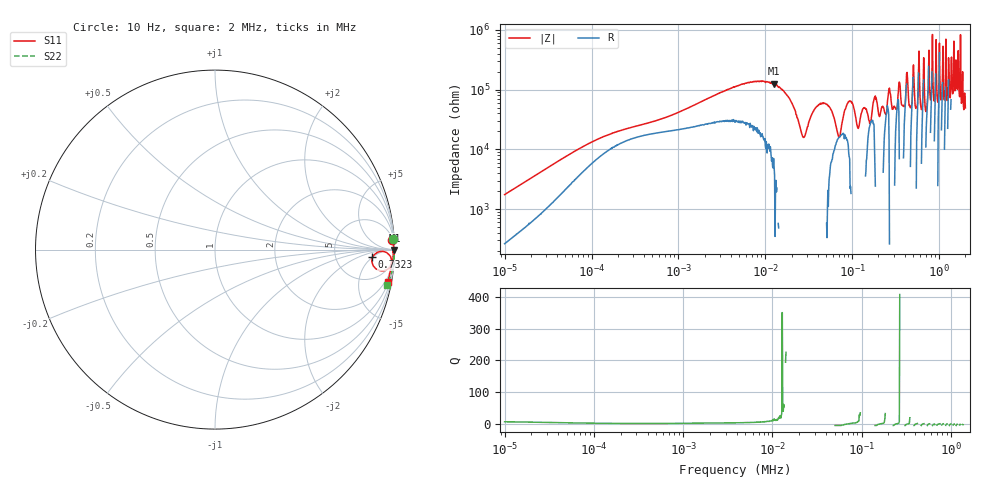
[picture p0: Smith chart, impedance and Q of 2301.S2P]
!Agilent Technologies,E5061B,MY49204007,A.02.12
!Date: Wed Jul 23 11:33:28 2025
!Data & Calibration Information:
!Freq	S11:SOLT2(ON)	S21:SOLT2(ON)	S12:SOLT2(ON)	S22:SOLT2(ON)
# Hz S dB R 50
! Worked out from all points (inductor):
!   1040 points, 10 Hz to 2 MHz, reference 50 ohm
!   read as one part in series: L = 26.7 H near 10.69 Hz
!   highest Q = 25 at 12.6 kHz (marker M1), where L = 1.58 H
!   self-resonance near 27.44 kHz
!   S11 on the Smith chart (normalised r, x): 10 Hz: 7, +34; 732.3 kHz: 13, -5; 2 MHz: 1, -11
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10  -0.09 3.2  -24.91 -78.0  -24.92 -77.9  -0.08 3.4
77.209  -0.03 0.5  -40.73 -67.6  -40.73 -67.5  -0.02 0.7
588.818  -0.02 0.1  -49.88 -52.3  -49.88 -52.1  -0.00 0.3
4498.482  -0.01 -0.0  -61.01 -74.2  -61.02 -74.7  0.01 0.2
12597.64  -0.00 -0.1  -61.96 -87.7  -61.92 -87.6  0.01 0.1
19320.97  -0.01 -0.3  -56.44 -99.7  -56.53 -99.4  0.01 0.0
27128.64  -0.08 -0.3  -44.16 -171.6  -44.16 -171.4  -0.02 -0.0
34305.13  -0.01 -0.1  -51.86 110.2  -51.91 109.7  0.01 0.0
50586.14  -0.01 -0.4  -55.20 89.2  -54.94 90.4  0.01 -0.1
70278.15  -0.08 -0.5  -44.07 7.8  -44.14 8.2  -0.02 -0.2
92131.26  -0.01 -0.6  -56.17 -83.8  -56.28 -83.2  0.01 -0.3
117103.5  -0.07 -0.7  -47.06 172.3  -47.08 172.5  -0.02 -0.5
261946.5  -0.03 -1.7  -59.46 -66.4  -58.28 -67.7  -0.00 -1.2
306858.3  -0.03 -2.0  -54.12 85.4  -54.47 87.5  -0.00 -1.5
351399.5  -0.04 -2.3  -62.15 -121.2  -61.90 -111.9  -0.00 -1.8
383793.2  -0.04 -2.5  -54.50 91.7  -54.33 90.4  -0.00 -2.0
415907  -0.04 -2.7  -61.05 -19.7  -59.78 -28.6  -0.01 -2.1
732335.4  -1.14 -2.8  -56.98 21.9  -57.20 24.4  0.03 -4.5
793481.8  -0.32 -1.4  -56.70 70.2  -56.94 68.3  0.00 -4.7
1089844  -0.13 -5.0  -64.76 34.0  -64.52 44.9  -0.05 -6.4
1574823  -0.16 -7.9  -68.38 -137.6  -71.20 -139.8  -0.11 -9.2
2000000  -0.17 -10.7  -54.13 -126.0  -53.37 -125.6  -0.20 -11.8
